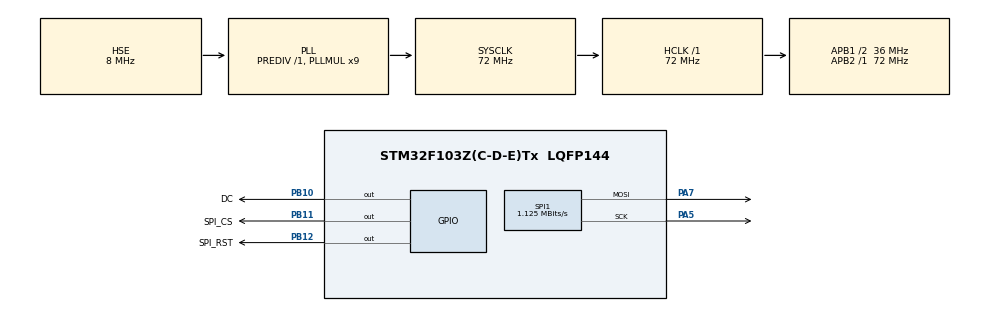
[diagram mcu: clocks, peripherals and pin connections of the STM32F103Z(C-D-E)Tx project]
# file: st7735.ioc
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Mcu.Family=STM32F1
Mcu.Name=STM32F103Z(C-D-E)Tx
Mcu.Package=LQFP144
NVIC.PriorityGroup=NVIC_PRIORITYGROUP_4
OSC_IN.Mode=HSE-External-Oscillator
OSC_IN.Signal=RCC_OSC_IN
OSC_OUT.Mode=HSE-External-Oscillator
OSC_OUT.Signal=RCC_OSC_OUT
PA13.Mode=Serial_Wire
PA13.Signal=SYS_JTMS-SWDIO
PA14.Mode=Serial_Wire
PA14.Signal=SYS_JTCK-SWCLK
PA5.Mode=TX_Only_Simplex_Unidirect_Master
PA5.Signal=SPI1_SCK
PA7.Mode=TX_Only_Simplex_Unidirect_Master
PA7.Signal=SPI1_MOSI
PB10.GPIO_Label=DC
PB10.Signal=GPIO_Output
PB11.GPIO_Label=SPI_CS
PB11.Signal=GPIO_Output
PB12.GPIO_Label=SPI_RST
PB12.Signal=GPIO_Output
ProjectManager.HeapSize=0x200
ProjectManager.StackSize=0x1000
ProjectManager.TargetToolchain=MDK-ARM V5.32
RCC.AHBFreq_Value=72000000
RCC.APB1CLKDivider=RCC_HCLK_DIV2
RCC.APB1Freq_Value=36000000
RCC.APB1TimFreq_Value=72000000
RCC.APB2Freq_Value=72000000
RCC.APB2TimFreq_Value=72000000
RCC.HCLKFreq_Value=72000000
RCC.PLLMUL=RCC_PLL_MUL9
RCC.PLLSourceVirtual=RCC_PLLSOURCE_HSE
RCC.SYSCLKFreq_VALUE=72000000
RCC.SYSCLKSource=RCC_SYSCLKSOURCE_PLLCLK
RCC.USBFreq_Value=72000000
SPI1.BaudRatePrescaler=SPI_BAUDRATEPRESCALER_64
SPI1.CalculateBaudRate=1.125 MBits/s
SPI1.Direction=SPI_DIRECTION_2LINES
SPI1.Mode=SPI_MODE_MASTER
SPI1.VirtualType=VM_MASTER
board=custom

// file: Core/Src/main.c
/* USER CODE BEGIN Header */
/**
  ******************************************************************************
  * @file           : main.c
  * @brief          : Main program body
  ******************************************************************************
  * @attention
  *
  * Copyright (c) 2022 STMicroelectronics.
  * All rights reserved.
  *
  * This software is licensed under terms that can be found in the LICENSE file
  * in the root directory of this software component.
  * If no LICENSE file comes with this software, it is provided AS-IS.
  *
  ******************************************************************************
  */
/* USER CODE END Header */
#include "main.h"

/* USER CODE BEGIN Includes */
#include "lcd.h"
#include "lv_port_disp.h"

#include "lvgl.h"
/* USER CODE END Includes */

SPI_HandleTypeDef hspi1;

void SystemClock_Config(void);
static void MX_GPIO_Init(void);
static void MX_SPI1_Init(void);

/* USER CODE BEGIN 0 */

//void lv_ex_label(void)
//{
//		char* github_addr = "https://gitee.com/W23";
//		lv_obj_t * label = lv_label_create(lv_scr_act());
//    lv_label_set_recolor(label, true);
//    lv_label_set_long_mode(label, LV_LABEL_LONG_SCROLL_CIRCULAR); /*Circular scroll*/
//    lv_obj_set_width(label, 120);
//    lv_label_set_text_fmt(label, "#ff0000 Gitee: %s#", github_addr);
//    lv_obj_align(label, LV_ALIGN_CENTER, 0, 10);
//
//    lv_obj_t * label2 = lv_label_create(lv_scr_act());
//    lv_label_set_recolor(label2, true);
//    lv_label_set_long_mode(label2, LV_LABEL_LONG_SCROLL_CIRCULAR); /*Circular scroll*/
//    lv_obj_set_width(label2, 120);
//    lv_label_set_text_fmt(label2, "#ff0000 Hello# #0000ff world !123456789#");
//    lv_obj_align(label2, LV_ALIGN_CENTER, 0, -10);
//}

//void lv_example_led_1(void)
//{
//    /*Create a LED and switch it OFF*/
//    lv_obj_t * led1  = lv_led_create(lv_scr_act());
//    lv_obj_align(led1, LV_ALIGN_CENTER, -80, 0);
//    lv_led_off(led1);

//    /*Copy the previous LED and set a brightness*/
//    lv_obj_t * led2  = lv_led_create(lv_scr_act());
//    lv_obj_align(led2, LV_ALIGN_CENTER, 0, 0);
//    lv_led_set_brightness(led2, 150);
//    lv_led_set_color(led2, lv_palette_main(LV_PALETTE_RED));

//    /*Copy the previous LED and switch it ON*/
//    lv_obj_t * led3  = lv_led_create(lv_scr_act());
//    lv_obj_align(led3, LV_ALIGN_CENTER, 80, 0);
//    lv_led_on(led3);
//}

static void lvgl_first_demo_start(void)
{
    lv_obj_t * btn = lv_btn_create(lv_scr_act());           /*Add a button the current screen*/
    lv_obj_set_pos(btn, 10, 10);                            /*Set its position*/
    lv_obj_set_size(btn, 120, 50);                          /*Set its size*/
//    lv_obj_add_event_cb(btn, (lv_event_cb_t)btn_event_cb, LV_EVENT_CLICKED, NULL);/*Assign a callback to the button*/

    lv_obj_t * label = lv_label_create(btn);                /*Add a label to the button*/
    lv_label_set_text(label, "Yeah");                       /*Set the labels text*/

    lv_obj_t * label1 = lv_label_create(lv_scr_act());
    lv_label_set_text(label1, "Hello world!");
    lv_obj_align(label1, LV_ALIGN_CENTER, 0, 0);
    lv_obj_align_to(btn, label1, LV_ALIGN_OUT_TOP_MID, 0, -10);
}

/* USER CODE END 0 */

int main(void)
{

  /* MCU Configuration--------------------------------------------------------*/

  /* Reset of all peripherals, Initializes the Flash interface and the Systick. */
  HAL_Init();

  /* Configure the system clock */
  SystemClock_Config();

  /* Initialize all configured peripherals */
  MX_GPIO_Init();
  MX_SPI1_Init();
  /* USER CODE BEGIN 2 */
  LCD_Init();
	LCD_DrawWindowAsColor(0,0,128,160,BLACK);

	lv_init();                  //
  lv_port_disp_init();        //
//  lv_ex_label();
//  lv_example_led_1();
	lvgl_first_demo_start();
  /* USER CODE END 2 */

  /* Infinite loop */
  while (1)
  {

    /* USER CODE BEGIN 3 */
		//LCD_ShowString(85,5,YELLOW,BLACK,12,(uint8_t *)"Ne:",0);
		lv_task_handler();
//		HAL_Delay(10);

  }
  /* USER CODE END 3 */
}

void SystemClock_Config(void)
{
  RCC_OscInitTypeDef RCC_OscInitStruct = {0};
  RCC_ClkInitTypeDef RCC_ClkInitStruct = {0};

  /** Initializes the RCC Oscillators according to the specified parameters
  * in the RCC_OscInitTypeDef structure.
  */
  RCC_OscInitStruct.OscillatorType = RCC_OSCILLATORTYPE_HSE;
  RCC_OscInitStruct.HSEState = RCC_HSE_ON;
  RCC_OscInitStruct.HSEPredivValue = RCC_HSE_PREDIV_DIV1;
  RCC_OscInitStruct.HSIState = RCC_HSI_ON;
  RCC_OscInitStruct.PLL.PLLState = RCC_PLL_ON;
  RCC_OscInitStruct.PLL.PLLSource = RCC_PLLSOURCE_HSE;
  RCC_OscInitStruct.PLL.PLLMUL = RCC_PLL_MUL9;
  if (HAL_RCC_OscConfig(&RCC_OscInitStruct) != HAL_OK)
  {
    Error_Handler();
  }
  /** Initializes the CPU, AHB and APB buses clocks
  */
  RCC_ClkInitStruct.ClockType = RCC_CLOCKTYPE_HCLK|RCC_CLOCKTYPE_SYSCLK
                              |RCC_CLOCKTYPE_PCLK1|RCC_CLOCKTYPE_PCLK2;
  RCC_ClkInitStruct.SYSCLKSource = RCC_SYSCLKSOURCE_PLLCLK;
  RCC_ClkInitStruct.AHBCLKDivider = RCC_SYSCLK_DIV1;
  RCC_ClkInitStruct.APB1CLKDivider = RCC_HCLK_DIV2;
  RCC_ClkInitStruct.APB2CLKDivider = RCC_HCLK_DIV1;

  if (HAL_RCC_ClockConfig(&RCC_ClkInitStruct, FLASH_LATENCY_2) != HAL_OK)
  {
    Error_Handler();
  }
}

static void MX_SPI1_Init(void)
{

  /* SPI1 parameter configuration*/
  hspi1.Instance = SPI1;
  hspi1.Init.Mode = SPI_MODE_MASTER;
  hspi1.Init.Direction = SPI_DIRECTION_2LINES;
  hspi1.Init.DataSize = SPI_DATASIZE_8BIT;
  hspi1.Init.CLKPolarity = SPI_POLARITY_LOW;
  hspi1.Init.CLKPhase = SPI_PHASE_1EDGE;
  hspi1.Init.NSS = SPI_NSS_SOFT;
  hspi1.Init.BaudRatePrescaler = SPI_BAUDRATEPRESCALER_64;
  hspi1.Init.FirstBit = SPI_FIRSTBIT_MSB;
  hspi1.Init.TIMode = SPI_TIMODE_DISABLE;
  hspi1.Init.CRCCalculation = SPI_CRCCALCULATION_DISABLE;
  hspi1.Init.CRCPolynomial = 10;
  if (HAL_SPI_Init(&hspi1) != HAL_OK)
  {
    Error_Handler();
  }

}

static void MX_GPIO_Init(void)
{
  GPIO_InitTypeDef GPIO_InitStruct = {0};

  /* GPIO Ports Clock Enable */
  __HAL_RCC_GPIOA_CLK_ENABLE();
  __HAL_RCC_GPIOB_CLK_ENABLE();

  /*Configure GPIO pin Output Level */
  HAL_GPIO_WritePin(GPIOB, GPIO_PIN_10|GPIO_PIN_11|GPIO_PIN_12, GPIO_PIN_RESET);

  /*Configure GPIO pins : PB10 PB11 PB12 */
  GPIO_InitStruct.Pin = GPIO_PIN_10|GPIO_PIN_11|GPIO_PIN_12;
  GPIO_InitStruct.Mode = GPIO_MODE_OUTPUT_PP;
  GPIO_InitStruct.Pull = GPIO_NOPULL;
  GPIO_InitStruct.Speed = GPIO_SPEED_FREQ_LOW;
  HAL_GPIO_Init(GPIOB, &GPIO_InitStruct);

}

void Error_Handler(void)
{
  __disable_irq();
  while (1)
  {
  }
}
